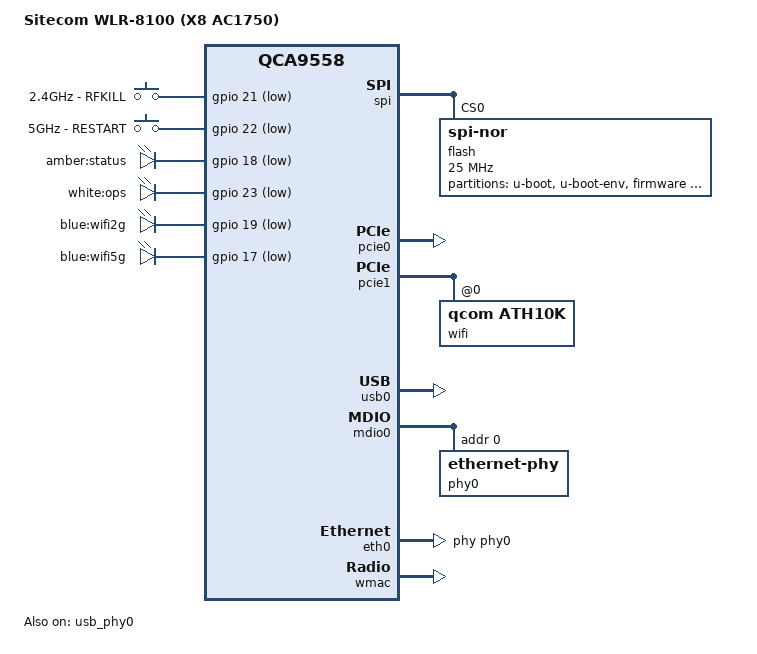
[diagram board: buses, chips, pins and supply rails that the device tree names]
// SPDX-License-Identifier: GPL-2.0-or-later OR MIT

#include "qca955x.dtsi"

#include <dt-bindings/gpio/gpio.h>
#include <dt-bindings/input/input.h>

/ {
	model = "Sitecom WLR-8100 (X8 AC1750)";
	compatible = "sitecom,wlr-8100", "qca,qca9558";

	aliases {
		led-boot = &led_status_amber;
		led-failsafe = &led_status_amber;
		led-running = &led_status_amber;
		led-upgrade = &led_status_amber;
	};

	keys {
		compatible = "gpio-keys";

		wifi2g_rfkill {
			label = "2.4GHz - RFKILL";
			gpios = <&gpio 21 GPIO_ACTIVE_LOW>;
			linux,code = <KEY_RFKILL>;
		};

		wifi5g_restart {
			label = "5GHz - RESTART";
			gpios = <&gpio 22 GPIO_ACTIVE_LOW>;
			linux,code = <KEY_RESTART>;
		};
	};

	leds {
		compatible = "gpio-leds";

		led_status_amber: status_amber {
			label = "amber:status";
			gpios = <&gpio 18 GPIO_ACTIVE_LOW>;
			default-state = "on";
		};

		ops {
			label = "white:ops";
			gpios = <&gpio 23 GPIO_ACTIVE_LOW>;
		};

		wifi2g {
			label = "blue:wifi2g";
			gpios = <&gpio 19 GPIO_ACTIVE_LOW>;
			linux,default-trigger = "phy1tpt";
		};

		wifi5g {
			label = "blue:wifi5g";
			gpios = <&gpio 17 GPIO_ACTIVE_LOW>;
			linux,default-trigger = "phy0tpt";
		};
	};
};

&spi {
	status = "okay";

	flash@0 {
		compatible = "jedec,spi-nor";
		reg = <0>;
		spi-max-frequency = <25000000>;

		partitions {
			compatible = "fixed-partitions";
			#address-cells = <1>;
			#size-cells = <1>;

			uboot: partition@0 {
				label = "u-boot";
				reg = <0x000000 0x030000>;
				read-only;
			};

			partition@30000 {
				label = "u-boot-env";
				reg = <0x030000 0x010000>;
				read-only;
			};

			partition@40000 {
				compatible = "denx,uimage";
				label = "firmware";
				reg = <0x040000 0xf10000>;
			};

			partition@f50000 {
				label = "manufacture";
				reg = <0xf50000 0x040000>;
				read-only;
			};

			partition@f90000 {
				label = "backup";
				reg = <0xf90000  0x010000>;
				read-only;
			};

			partition@fa0000 {
				label = "storage";
				reg = <0xfa0000 0x050000>;
				read-only;
			};

			art: partition@ff0000 {
				label = "art";
				reg = <0xff0000 0x010000>;
				read-only;
			};
		};
	};
};

&pcie0 {
	status = "okay";
};

&pcie1 {
	status = "okay";

	wifi@0,0 {
		compatible = "qcom,ath10k";
		reg = <0 0 0 0 0>;
	};
};

&usb_phy0 {
	status = "okay";
};

&usb0 {
	#address-cells = <1>;
	#size-cells = <0>;
	status = "okay";
};

&mdio0 {
	status = "okay";

	phy0: ethernet-phy@0 {
		reg = <0>;

		qca,ar8327-initvals = <
			0x04 0x87600000 /* PORT0 PAD MODE CTRL */
			0x50 0xcf37cf37 /* LED Control Register 0 */
			0x54 0x00000000 /* LED Control Register 1 */
			0x58 0x00000000 /* LED Control Register 2 */
			0x5c 0x0030c300 /* LED Control Register 3 */
			0x7c 0x0000007e /* PORT0_STATUS */
			>;
	};
};

&eth0 {
	status = "okay";
	phy-handle = <&phy0>;
	pll-data = <0xa6000000 0x00000101 0x00001616>;

	gmac-config {
		device = <&gmac>;
		rgmii-enabled = <1>;
	};
};

&wmac {
	status = "okay";
	qca,no-eeprom;
};
